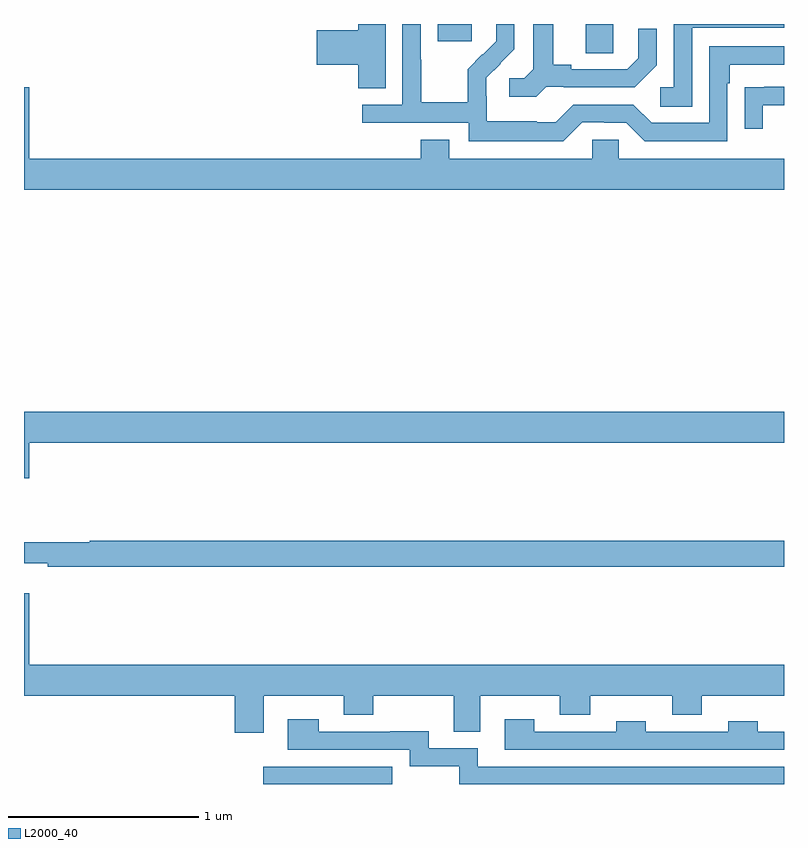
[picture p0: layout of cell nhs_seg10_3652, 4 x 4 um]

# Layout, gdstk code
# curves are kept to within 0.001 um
import gdstk
lib = gdstk.Library(unit=1e-6, precision=1e-09)
def R(c, l, rs):  # rectangles x0, y0, x1, y1
    for r in rs: c.add(gdstk.rectangle(r[:2], r[2:], *l))
def P(c, l, *ps):  # polygons
    for p in ps: c.add(gdstk.Polygon(p, *l))
L2000_40 = (2000, 40)

nhs_seg10_3652 = lib.new_cell('nhs_seg10_3652')
R(nhs_seg10_3652, L2000_40, [(310.259,1318.5,310.938,1318.59), (311.957,1322.347,312.102,1322.5), (311.177,1322.409,311.356,1322.5)])
P(nhs_seg10_3652, L2000_40, [(311.748,1322.169),(311.842,1322.169),(311.842,1322.166),(312.214,1322.166),(312.33,1322.282),(312.33,1322.476),(312.233,1322.476),(312.233,1322.319),(312.176,1322.262),(311.881,1322.262),(311.881,1322.285),(311.785,1322.285),(311.785,1322.5),(311.681,1322.5),(311.681,1322.261),(311.634,1322.214),(311.553,1322.214),(311.553,1322.117),(311.696,1322.117)],
  [(312.516,1322.481),(313,1322.481),(313,1322.5),(312.42,1322.5),(312.42,1322.166),(312.348,1322.166),(312.348,1322.065),(312.516,1322.065)],
  [(310.903,1322.5),(310.76,1322.5),(310.76,1322.468),(310.542,1322.468),(310.542,1322.285),(310.76,1322.285),(310.76,1322.161),(310.903,1322.161)],
  [(311.937,1321.983),(312.053,1321.983),(312.053,1321.98),(312.171,1321.98),(312.267,1321.884),(312.702,1321.884),(312.702,1322.189),(312.715,1322.189),(312.715,1322.286),(313,1322.286),(313,1322.382),(312.606,1322.382),(312.606,1321.98),(312.303,1321.98),(312.207,1322.076),(311.892,1322.076),(311.799,1321.983),(311.699,1321.983),(311.699,1321.987),(311.436,1321.987),(311.436,1322.121),(311.434,1322.121),(311.434,1322.218),(311.58,1322.366),(311.58,1322.5),(311.486,1322.5),(311.486,1322.408),(311.415,1322.337),(311.412,1322.34),(311.335,1322.263),(311.335,1322.089),(311.091,1322.089),(311.091,1322.312),(311.088,1322.312),(311.088,1322.5),(310.992,1322.5),(310.992,1322.076),(310.779,1322.076),(310.779,1321.98),(311.34,1321.98),(311.34,1321.883),(311.837,1321.883)],
  [(312.889,1322.073),(313,1322.073),(313,1322.169),(312.895,1322.169),(312.895,1322.168),(312.793,1322.168),(312.793,1321.95),(312.889,1321.95)],
  [(313,1321.792),(312.129,1321.792),(312.129,1321.89),(311.991,1321.89),(311.991,1321.792),(311.239,1321.792),(311.239,1321.891),(311.087,1321.891),(311.087,1321.792),(309.028,1321.792),(309.028,1322.167),(309,1322.167),(309,1321.628),(313,1321.628)],
  [(309.028,1320.296),(313,1320.296),(313,1320.46),(309,1320.46),(309,1320.108),(309.028,1320.108)],
  [(313,1319.78),(309.347,1319.78),(309.347,1319.773),(309,1319.773),(309,1319.663),(309.124,1319.663),(309.124,1319.644),(313,1319.644)],
  [(310.261,1318.964),(310.684,1318.964),(310.684,1318.865),(310.839,1318.865),(310.839,1318.964),(311.261,1318.964),(311.261,1318.774),(311.401,1318.774),(311.401,1318.964),(311.821,1318.964),(311.821,1318.865),(311.979,1318.865),(311.979,1318.964),(312.412,1318.964),(312.412,1318.865),(312.567,1318.865),(312.567,1318.964),(313,1318.964),(313,1319.128),(309.028,1319.128),(309.028,1319.503),(309,1319.503),(309,1318.964),(310.109,1318.964),(310.109,1318.77),(310.261,1318.77)],
  [(313,1318.591),(312.997,1318.591),(312.997,1318.59),(311.389,1318.59),(311.389,1318.689),(311.131,1318.689),(311.131,1318.778),(310.927,1318.778),(310.927,1318.776),(310.55,1318.776),(310.55,1318.84),(310.389,1318.84),(310.389,1318.68),(311.03,1318.68),(311.03,1318.593),(311.292,1318.593),(311.292,1318.5),(313,1318.5)],
  [(313,1318.776),(312.861,1318.776),(312.861,1318.831),(312.706,1318.831),(312.706,1318.776),(312.273,1318.776),(312.273,1318.831),(312.118,1318.831),(312.118,1318.776),(311.685,1318.776),(311.685,1318.84),(311.529,1318.84),(311.529,1318.68),(313,1318.68)])

lib.write_gds('nhs_seg10_3652.gds')
